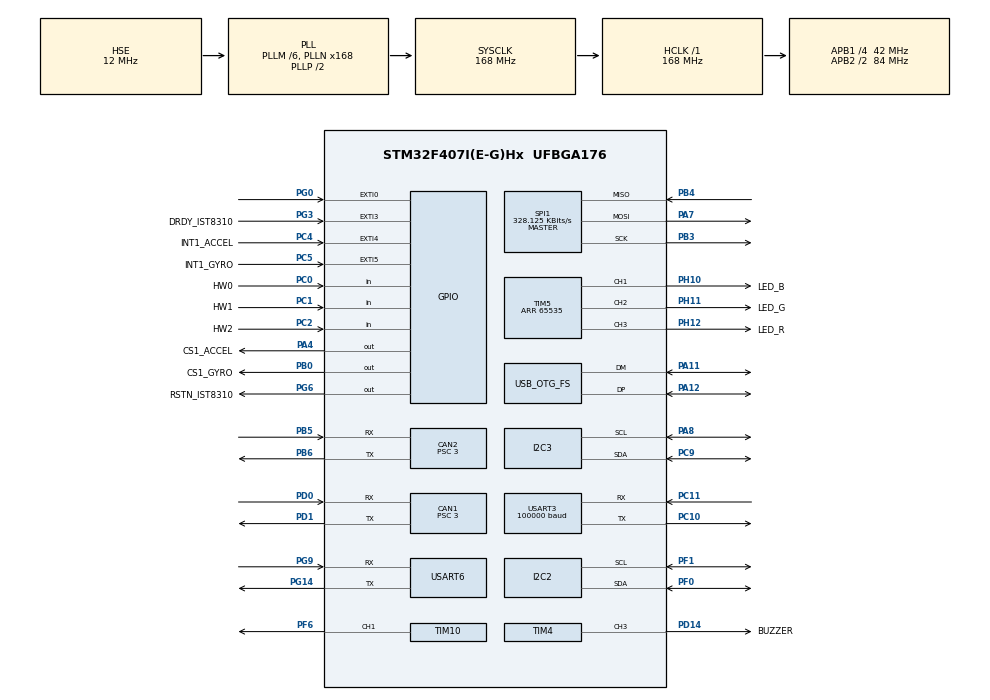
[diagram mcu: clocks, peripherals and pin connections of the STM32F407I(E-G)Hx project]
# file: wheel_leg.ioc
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CAN1.BS1=CAN_BS1_10TQ
CAN1.BS2=CAN_BS2_3TQ
CAN1.CalculateBaudRate=1000000
CAN1.CalculateTimeBit=1000
CAN1.CalculateTimeQuantum=71.42857142857143
CAN1.NART=ENABLE
CAN1.Prescaler=3
CAN2.BS1=CAN_BS1_10TQ
CAN2.BS2=CAN_BS2_3TQ
CAN2.CalculateBaudRate=1000000
CAN2.CalculateTimeBit=1000
CAN2.CalculateTimeQuantum=71.42857142857143
CAN2.NART=ENABLE
CAN2.Prescaler=3
Dma.Request0=USART3_RX
Dma.Request1=SPI1_RX
Dma.Request2=SPI1_TX
Dma.Request3=USART6_RX
Dma.Request4=USART6_TX
Dma.SPI1_RX.1.Direction=DMA_PERIPH_TO_MEMORY
Dma.SPI1_RX.1.FIFOMode=DMA_FIFOMODE_DISABLE
Dma.SPI1_RX.1.Instance=DMA2_Stream2
Dma.SPI1_RX.1.MemDataAlignment=DMA_MDATAALIGN_BYTE
Dma.SPI1_RX.1.MemInc=DMA_MINC_ENABLE
Dma.SPI1_RX.1.Mode=DMA_NORMAL
Dma.SPI1_RX.1.PeriphDataAlignment=DMA_PDATAALIGN_BYTE
Dma.SPI1_RX.1.PeriphInc=DMA_PINC_DISABLE
Dma.SPI1_RX.1.Priority=DMA_PRIORITY_VERY_HIGH
Dma.SPI1_TX.2.Direction=DMA_MEMORY_TO_PERIPH
Dma.SPI1_TX.2.FIFOMode=DMA_FIFOMODE_DISABLE
Dma.SPI1_TX.2.Instance=DMA2_Stream3
Dma.SPI1_TX.2.MemDataAlignment=DMA_MDATAALIGN_BYTE
Dma.SPI1_TX.2.MemInc=DMA_MINC_ENABLE
Dma.SPI1_TX.2.Mode=DMA_NORMAL
Dma.SPI1_TX.2.PeriphDataAlignment=DMA_PDATAALIGN_BYTE
Dma.SPI1_TX.2.PeriphInc=DMA_PINC_DISABLE
Dma.SPI1_TX.2.Priority=DMA_PRIORITY_HIGH
Dma.USART3_RX.0.Direction=DMA_PERIPH_TO_MEMORY
Dma.USART3_RX.0.FIFOMode=DMA_FIFOMODE_DISABLE
Dma.USART3_RX.0.Instance=DMA1_Stream1
Dma.USART3_RX.0.MemDataAlignment=DMA_MDATAALIGN_BYTE
Dma.USART3_RX.0.MemInc=DMA_MINC_ENABLE
Dma.USART3_RX.0.Mode=DMA_NORMAL
Dma.USART3_RX.0.PeriphDataAlignment=DMA_PDATAALIGN_BYTE
Dma.USART3_RX.0.PeriphInc=DMA_PINC_DISABLE
Dma.USART3_RX.0.Priority=DMA_PRIORITY_VERY_HIGH
Dma.USART6_RX.3.Direction=DMA_PERIPH_TO_MEMORY
Dma.USART6_RX.3.FIFOMode=DMA_FIFOMODE_ENABLE
Dma.USART6_RX.3.FIFOThreshold=DMA_FIFO_THRESHOLD_FULL
Dma.USART6_RX.3.Instance=DMA2_Stream1
Dma.USART6_RX.3.MemBurst=DMA_MBURST_SINGLE
Dma.USART6_RX.3.MemDataAlignment=DMA_MDATAALIGN_BYTE
Dma.USART6_RX.3.MemInc=DMA_MINC_ENABLE
Dma.USART6_RX.3.Mode=DMA_NORMAL
Dma.USART6_RX.3.PeriphBurst=DMA_PBURST_SINGLE
Dma.USART6_RX.3.PeriphDataAlignment=DMA_PDATAALIGN_BYTE
Dma.USART6_RX.3.PeriphInc=DMA_PINC_DISABLE
Dma.USART6_RX.3.Priority=DMA_PRIORITY_HIGH
Dma.USART6_TX.4.Direction=DMA_MEMORY_TO_PERIPH
Dma.USART6_TX.4.FIFOMode=DMA_FIFOMODE_DISABLE
Dma.USART6_TX.4.Instance=DMA2_Stream6
Dma.USART6_TX.4.MemDataAlignment=DMA_MDATAALIGN_BYTE
Dma.USART6_TX.4.MemInc=DMA_MINC_ENABLE
Dma.USART6_TX.4.Mode=DMA_NORMAL
Dma.USART6_TX.4.PeriphDataAlignment=DMA_PDATAALIGN_BYTE
Dma.USART6_TX.4.PeriphInc=DMA_PINC_DISABLE
Dma.USART6_TX.4.Priority=DMA_PRIORITY_MEDIUM
FREERTOS.INCLUDE_eTaskGetState=1
FREERTOS.INCLUDE_pcTaskGetTaskName=1
FREERTOS.INCLUDE_uxTaskGetStackHighWaterMark=1
FREERTOS.INCLUDE_uxTaskGetStackHighWaterMark2=0
FREERTOS.INCLUDE_vTaskCleanUpResources=1
FREERTOS.INCLUDE_vTaskDelayUntil=1
FREERTOS.INCLUDE_xEventGroupSetBitFromISR=1
FREERTOS.INCLUDE_xQueueGetMutexHolder=1
FREERTOS.INCLUDE_xSemaphoreGetMutexHolder=1
FREERTOS.INCLUDE_xTaskAbortDelay=1
FREERTOS.INCLUDE_xTaskGetCurrentTaskHandle=1
FREERTOS.INCLUDE_xTaskGetHandle=1
FREERTOS.INCLUDE_xTimerPendFunctionCall=1
FREERTOS.Tasks01=defaultTask,0,128,StartDefaultTask,Default,NULL,Dynamic,NULL,NULL
FREERTOS.configENABLE_FPU=1
FREERTOS.configGENERATE_RUN_TIME_STATS=0
FREERTOS.configTOTAL_HEAP_SIZE=24576
FREERTOS.configUSE_NEWLIB_REENTRANT=1
FREERTOS.configUSE_TIMERS=1
I2C3.I2C_Mode=I2C_Fast
Mcu.Family=STM32F4
Mcu.Name=STM32F407I(E-G)Hx
Mcu.Package=UFBGA176
NVIC.CAN1_RX0_IRQn=true\:5\:0\:false\:false\:true\:true\:true\:true\:true
NVIC.CAN1_TX_IRQn=true\:5\:0\:false\:false\:true\:true\:true\:true\:true
NVIC.CAN2_RX0_IRQn=true\:5\:0\:false\:false\:true\:true\:true\:true\:true
NVIC.CAN2_TX_IRQn=true\:5\:0\:false\:false\:true\:true\:true\:true\:true
NVIC.DMA1_Stream1_IRQn=true\:5\:0\:false\:false\:true\:true\:false\:true\:true
NVIC.DMA2_Stream1_IRQn=true\:5\:0\:false\:false\:true\:true\:false\:true\:true
NVIC.DMA2_Stream2_IRQn=true\:5\:0\:false\:false\:true\:false\:false\:true\:true
NVIC.DMA2_Stream3_IRQn=true\:5\:0\:false\:false\:true\:true\:false\:true\:true
NVIC.DMA2_Stream6_IRQn=true\:5\:0\:false\:false\:true\:true\:false\:true\:true
NVIC.EXTI0_IRQn=true\:5\:0\:false\:false\:true\:true\:true\:true\:true
NVIC.EXTI3_IRQn=true\:5\:0\:false\:false\:true\:true\:true\:true\:true
NVIC.EXTI4_IRQn=true\:5\:0\:false\:false\:true\:true\:true\:true\:true
NVIC.EXTI9_5_IRQn=true\:5\:0\:false\:false\:true\:false\:true\:true\:true
NVIC.OTG_FS_IRQn=true\:5\:0\:false\:false\:true\:true\:false\:true\:true
NVIC.PriorityGroup=NVIC_PRIORITYGROUP_4
NVIC.TIM2_IRQn=true\:15\:0\:false\:false\:true\:false\:false\:true\:true
NVIC.TimeBase=TIM2_IRQn
NVIC.TimeBaseIP=TIM2
NVIC.USART3_IRQn=true\:5\:0\:false\:false\:false\:true\:true\:true\:true
NVIC.USART6_IRQn=true\:5\:0\:false\:false\:true\:true\:true\:true\:true
PA11.Mode=Device_Only
PA11.Signal=USB_OTG_FS_DM
PA12.Mode=Device_Only
PA12.Signal=USB_OTG_FS_DP
PA13.Mode=Serial_Wire
PA13.Signal=SYS_JTMS-SWDIO
PA14.Mode=Serial_Wire
PA14.Signal=SYS_JTCK-SWCLK
PA4.GPIO_Label=CS1_ACCEL
PA4.GPIO_PuPd=GPIO_PULLUP
PA4.GPIO_Speed=GPIO_SPEED_FREQ_HIGH
PA4.PinState=GPIO_PIN_SET
PA4.Signal=GPIO_Output
PA7.Mode=Full_Duplex_Master
PA7.Signal=SPI1_MOSI
PA8.Mode=I2C
PA8.Signal=I2C3_SCL
PB0.GPIO_Label=CS1_GYRO
PB0.GPIO_PuPd=GPIO_PULLUP
PB0.GPIO_Speed=GPIO_SPEED_FREQ_HIGH
PB0.PinState=GPIO_PIN_SET
PB0.Signal=GPIO_Output
PB3.Mode=Full_Duplex_Master
PB3.Signal=SPI1_SCK
PB4.Mode=Full_Duplex_Master
PB4.Signal=SPI1_MISO
PB5.Mode=CAN_Activate
PB5.Signal=CAN2_RX
PB6.Mode=CAN_Activate
PB6.Signal=CAN2_TX
PC0.GPIO_Label=HW0
PC0.Signal=GPIO_Input
PC1.GPIO_Label=HW1
PC1.Signal=GPIO_Input
PC10.Mode=Asynchronous
PC10.Signal=USART3_TX
PC11.Mode=Asynchronous
PC11.Signal=USART3_RX
PC2.GPIO_Label=HW2
PC2.Signal=GPIO_Input
PC4.GPIO_Label=INT1_ACCEL
PC4.GPIO_ModeDefaultEXTI=GPIO_MODE_IT_FALLING
PC4.GPIO_PuPd=GPIO_PULLUP
PC4.Signal=GPXTI4
PC5.GPIO_Label=INT1_GYRO
PC5.GPIO_ModeDefaultEXTI=GPIO_MODE_IT_FALLING
PC5.GPIO_PuPd=GPIO_PULLUP
PC5.Signal=GPXTI5
PC9.Mode=I2C
PC9.Signal=I2C3_SDA
PD0.Mode=CAN_Activate
PD0.Signal=CAN1_RX
PD1.Mode=CAN_Activate
PD1.Signal=CAN1_TX
PD14.GPIO_Label=BUZZER
PD14.GPIO_PuPd=GPIO_PULLUP
PD14.GPIO_Speed=GPIO_SPEED_FREQ_VERY_HIGH
PD14.Signal=S_TIM4_CH3
PF0.Mode=I2C
PF0.Signal=I2C2_SDA
PF1.Mode=I2C
PF1.Signal=I2C2_SCL
PF6.GPIO_PuPd=GPIO_PULLUP
PF6.GPIO_Speed=GPIO_SPEED_FREQ_HIGH
PF6.Signal=S_TIM10_CH1
PG0.GPIO_ModeDefaultEXTI=GPIO_MODE_IT_FALLING
PG0.GPIO_PuPd=GPIO_PULLUP
PG0.Signal=GPXTI0
PG14.Mode=Asynchronous
PG14.Signal=USART6_TX
PG3.GPIO_Label=DRDY_IST8310
PG3.GPIO_ModeDefaultEXTI=GPIO_MODE_IT_FALLING
PG3.GPIO_PuPd=GPIO_PULLUP
PG3.Signal=GPXTI3
PG6.GPIO_Label=RSTN_IST8310
PG6.GPIO_ModeDefaultOutputPP=GPIO_MODE_OUTPUT_PP
PG6.GPIO_PuPd=GPIO_PULLUP
PG6.GPIO_Speed=GPIO_SPEED_FREQ_MEDIUM
PG6.PinState=GPIO_PIN_SET
PG6.Signal=GPIO_Output
PG9.Mode=Asynchronous
PG9.Signal=USART6_RX
PH0-OSC_IN.Mode=HSE-External-Oscillator
PH0-OSC_IN.Signal=RCC_OSC_IN
PH1-OSC_OUT.Mode=HSE-External-Oscillator
PH1-OSC_OUT.Signal=RCC_OSC_OUT
PH10.GPIO_Label=LED_B
PH10.GPIO_PuPd=GPIO_PULLUP
PH10.GPIO_Speed=GPIO_SPEED_FREQ_HIGH
PH10.Signal=S_TIM5_CH1
PH11.GPIO_Label=LED_G
PH11.GPIO_PuPd=GPIO_PULLUP
PH11.GPIO_Speed=GPIO_SPEED_FREQ_HIGH
PH11.Signal=S_TIM5_CH2
PH12.GPIO_Label=LED_R
PH12.GPIO_PuPd=GPIO_PULLUP
PH12.GPIO_Speed=GPIO_SPEED_FREQ_HIGH
PH12.Signal=S_TIM5_CH3
ProjectManager.HeapSize=0x1000
ProjectManager.StackSize=0x1000
ProjectManager.TargetToolchain=STM32CubeIDE
RCC.48MHZClocksFreq_Value=48000000
RCC.AHBFreq_Value=168000000
RCC.APB1CLKDivider=RCC_HCLK_DIV4
RCC.APB1Freq_Value=42000000
RCC.APB1TimFreq_Value=84000000
RCC.APB2CLKDivider=RCC_HCLK_DIV2
RCC.APB2Freq_Value=84000000
RCC.APB2TimFreq_Value=168000000
RCC.CortexFreq_Value=168000000
RCC.HCLKFreq_Value=168000000
RCC.HSE_VALUE=12000000
RCC.HSI_VALUE=16000000
RCC.LSE_VALUE=32768
RCC.PLLM=6
RCC.PLLN=168
RCC.PLLQ=7
RCC.SYSCLKFreq_VALUE=168000000
RCC.SYSCLKSource=RCC_SYSCLKSOURCE_PLLCLK
RCC.VCOOutputFreq_Value=336000000
SH.S_TIM10_CH1.0=TIM10_CH1,PWM Generation1 CH1
SH.S_TIM4_CH3.0=TIM4_CH3,PWM Generation3 CH3
SH.S_TIM5_CH1.0=TIM5_CH1,PWM Generation1 CH1
SH.S_TIM5_CH2.0=TIM5_CH2,PWM Generation2 CH2
SH.S_TIM5_CH3.0=TIM5_CH3,PWM Generation3 CH3
SPI1.BaudRatePrescaler=SPI_BAUDRATEPRESCALER_256
SPI1.CLKPhase=SPI_PHASE_2EDGE
SPI1.CLKPolarity=SPI_POLARITY_HIGH
SPI1.CalculateBaudRate=328.125 KBits/s
SPI1.Direction=SPI_DIRECTION_2LINES
SPI1.Mode=SPI_MODE_MASTER
SPI1.VirtualType=VM_MASTER
STMicroelectronics.X-CUBE-ALGOBUILD.1.3.0.LibraryCcDSPOoLibraryJjDSPOoLibrary=true
TIM10.Channel=TIM_CHANNEL_1
TIM10.Period=4999
TIM10.Prescaler=0
TIM4.Channel-PWM\ Generation3\ CH3=TIM_CHANNEL_3
TIM4.Prescaler=167
TIM5.Channel-PWM\ Generation1\ CH1=TIM_CHANNEL_1
TIM5.Channel-PWM\ Generation2\ CH2=TIM_CHANNEL_2
TIM5.Channel-PWM\ Generation3\ CH3=TIM_CHANNEL_3
TIM5.Period=65535
USART3.BaudRate=100000
USART3.Parity=PARITY_EVEN
USART3.VirtualMode=VM_ASYNC
USART6.VirtualMode=VM_ASYNC
USB_DEVICE.CLASS_NAME_FS=CDC
USB_DEVICE.VirtualMode-CDC_FS=Cdc
USB_DEVICE.VirtualModeFS=Cdc_FS
USB_OTG_FS.VirtualMode=Device_Only
VP_CRC_VS_CRC.Mode=CRC_Activate
VP_FREERTOS_VS_CMSIS_V1.Mode=CMSIS_V1
VP_STMicroelectronics.X-CUBE-ALGOBUILD_VS_DSPOoLibraryJjLibrary_1.3.0_1.3.0.Mode=DSPOoLibraryJjLibrary
VP_SYS_VS_tim2.Mode=TIM2
VP_TIM10_VS_ClockSourceINT.Mode=Enable_Timer
VP_TIM4_VS_ClockSourceINT.Mode=Internal
VP_TIM5_VS_ClockSourceINT.Mode=Internal
VP_USB_DEVICE_VS_USB_DEVICE_CDC_FS.Mode=CDC_FS
board=custom

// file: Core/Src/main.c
/* USER CODE BEGIN Header */
/**
  ******************************************************************************
  * @file           : main.c
  * @brief          : Main program body
  ******************************************************************************
  * @attention
  *
  * Copyright (c) 2024 STMicroelectronics.
  * All rights reserved.
  *
  * This software is licensed under terms that can be found in the LICENSE file
  * in the root directory of this software component.
  * If no LICENSE file comes with this software, it is provided AS-IS.
  *
  ******************************************************************************
  */
/* USER CODE END Header */
#include "main.h"
#include "cmsis_os.h"
#include "can.h"
#include "crc.h"
#include "dma.h"
#include "i2c.h"
#include "spi.h"
#include "tim.h"
#include "usart.h"
#include "usb_device.h"
#include "gpio.h"

/* USER CODE BEGIN Includes */
#include "bsp_delay.h"
#include "bsp_can.h"
#include "bsp_usart.h"
#include "remote.h"
#include "Referee.h"
/* USER CODE END Includes */

void SystemClock_Config(void);
void MX_FREERTOS_Init(void);

int main(void)
{

  /* MCU Configuration--------------------------------------------------------*/

  /* Reset of all peripherals, Initializes the Flash interface and the Systick. */
  HAL_Init();

  /* Configure the system clock */
  SystemClock_Config();

  /* Initialize all configured peripherals */
  MX_GPIO_Init();
  MX_DMA_Init();
  MX_USART3_UART_Init();
  MX_CAN1_Init();
  MX_CAN2_Init();
  MX_SPI1_Init();
  MX_I2C3_Init();
  MX_TIM4_Init();
  MX_TIM5_Init();
  MX_TIM10_Init();
  MX_I2C2_Init();
  MX_USART6_UART_Init();
  MX_CRC_Init();
  /* USER CODE BEGIN 2 */
  can_filter_init();
  delay_init();
  remote_control_init();
  usart6_init(&usart6_buf[0], REFEREE_BUFFER_SIZE);
  /* USER CODE END 2 */

  /* Call init function for freertos objects (in freertos.c) */
  MX_FREERTOS_Init();

  /* Start scheduler */
  osKernelStart();

  /* We should never get here as control is now taken by the scheduler */
  /* Infinite loop */
  while (1)
  {

  }
}

void SystemClock_Config(void)
{
  RCC_OscInitTypeDef RCC_OscInitStruct = {0};
  RCC_ClkInitTypeDef RCC_ClkInitStruct = {0};

  /** Configure the main internal regulator output voltage
  */
  __HAL_RCC_PWR_CLK_ENABLE();
  __HAL_PWR_VOLTAGESCALING_CONFIG(PWR_REGULATOR_VOLTAGE_SCALE1);

  /** Initializes the RCC Oscillators according to the specified parameters
  * in the RCC_OscInitTypeDef structure.
  */
  RCC_OscInitStruct.OscillatorType = RCC_OSCILLATORTYPE_HSE;
  RCC_OscInitStruct.HSEState = RCC_HSE_ON;
  RCC_OscInitStruct.PLL.PLLState = RCC_PLL_ON;
  RCC_OscInitStruct.PLL.PLLSource = RCC_PLLSOURCE_HSE;
  RCC_OscInitStruct.PLL.PLLM = 6;
  RCC_OscInitStruct.PLL.PLLN = 168;
  RCC_OscInitStruct.PLL.PLLP = RCC_PLLP_DIV2;
  RCC_OscInitStruct.PLL.PLLQ = 7;
  if (HAL_RCC_OscConfig(&RCC_OscInitStruct) != HAL_OK)
  {
    Error_Handler();
  }

  /** Initializes the CPU, AHB and APB buses clocks
  */
  RCC_ClkInitStruct.ClockType = RCC_CLOCKTYPE_HCLK|RCC_CLOCKTYPE_SYSCLK
                              |RCC_CLOCKTYPE_PCLK1|RCC_CLOCKTYPE_PCLK2;
  RCC_ClkInitStruct.SYSCLKSource = RCC_SYSCLKSOURCE_PLLCLK;
  RCC_ClkInitStruct.AHBCLKDivider = RCC_SYSCLK_DIV1;
  RCC_ClkInitStruct.APB1CLKDivider = RCC_HCLK_DIV4;
  RCC_ClkInitStruct.APB2CLKDivider = RCC_HCLK_DIV2;

  if (HAL_RCC_ClockConfig(&RCC_ClkInitStruct, FLASH_LATENCY_5) != HAL_OK)
  {
    Error_Handler();
  }
}

void HAL_TIM_PeriodElapsedCallback(TIM_HandleTypeDef *htim)
{
  if (htim->Instance == TIM2) {
    HAL_IncTick();
  }
}

void Error_Handler(void)
{
  __disable_irq();
  while (1)
  {
  }
}

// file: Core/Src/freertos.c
/* USER CODE BEGIN Header */
/**
  ******************************************************************************
  * File Name          : freertos.c
  * Description        : Code for freertos applications
  ******************************************************************************
  * @attention
  *
  * Copyright (c) 2024 STMicroelectronics.
  * All rights reserved.
  *
  * This software is licensed under terms that can be found in the LICENSE file
  * in the root directory of this software component.
  * If no LICENSE file comes with this software, it is provided AS-IS.
  *
  ******************************************************************************
  */
/* USER CODE END Header */

#include "FreeRTOS.h"
#include "task.h"
#include "main.h"
#include "cmsis_os.h"

/* USER CODE BEGIN Includes */
#include "Atti.h"
#include "Calibrate.h"
#include "chassis.h"
#include "robot_def.h"
#include "communication.h"
/* USER CODE END Includes */

/* USER CODE BEGIN Variables */
osThreadId attiTaskHandle;
osThreadId calibrateTaskHandle;
osThreadId chassisTaskHandle;
osThreadId gimbalTaskHandle;
/* USER CODE END Variables */
osThreadId defaultTaskHandle;

void StartDefaultTask(void const * argument);

extern void MX_USB_DEVICE_Init(void);
void MX_FREERTOS_Init(void); /* (MISRA C 2004 rule 8.1) */

/* GetIdleTaskMemory prototype (linked to static allocation support) */
void vApplicationGetIdleTaskMemory( StaticTask_t **ppxIdleTaskTCBBuffer, StackType_t **ppxIdleTaskStackBuffer, uint32_t *pulIdleTaskStackSize );

/* GetTimerTaskMemory prototype (linked to static allocation support) */
void vApplicationGetTimerTaskMemory( StaticTask_t **ppxTimerTaskTCBBuffer, StackType_t **ppxTimerTaskStackBuffer, uint32_t *pulTimerTaskStackSize );

/* USER CODE BEGIN GET_IDLE_TASK_MEMORY */
static StaticTask_t xIdleTaskTCBBuffer;
static StackType_t xIdleStack[configMINIMAL_STACK_SIZE];

void vApplicationGetIdleTaskMemory(StaticTask_t **ppxIdleTaskTCBBuffer,
                                   StackType_t **ppxIdleTaskStackBuffer,
                                   uint32_t *pulIdleTaskStackSize) {
  *ppxIdleTaskTCBBuffer = &xIdleTaskTCBBuffer;
  *ppxIdleTaskStackBuffer = &xIdleStack[0];
  *pulIdleTaskStackSize = configMINIMAL_STACK_SIZE;
  /* place for user code */
}
/* USER CODE END GET_IDLE_TASK_MEMORY */

/* USER CODE BEGIN GET_TIMER_TASK_MEMORY */
static StaticTask_t xTimerTaskTCBBuffer;
static StackType_t xTimerStack[configTIMER_TASK_STACK_DEPTH];

void vApplicationGetTimerTaskMemory(StaticTask_t **ppxTimerTaskTCBBuffer,
                                    StackType_t **ppxTimerTaskStackBuffer,
                                    uint32_t *pulTimerTaskStackSize) {
  *ppxTimerTaskTCBBuffer = &xTimerTaskTCBBuffer;
  *ppxTimerTaskStackBuffer = &xTimerStack[0];
  *pulTimerTaskStackSize = configTIMER_TASK_STACK_DEPTH;
  /* place for user code */
}
/* USER CODE END GET_TIMER_TASK_MEMORY */

void MX_FREERTOS_Init(void) {

  /* Create the thread(s) */
  /* definition and creation of defaultTask */
  osThreadDef(defaultTask, StartDefaultTask, osPriorityNormal, 0, 128);
  defaultTaskHandle = osThreadCreate(osThread(defaultTask), NULL);

  /* USER CODE BEGIN RTOS_THREADS */
  osThreadDef(calibrateTask, calibrate_task, osPriorityNormal, 0, 512);
  calibrateTaskHandle = osThreadCreate(osThread(calibrateTask), NULL);

  osThreadDef(attiTask, INS_task, osPriorityRealtime, 0, 1024);
  attiTaskHandle = osThreadCreate(osThread(attiTask), NULL);

  osThreadDef(chassisTask, chassis_task, osPriorityAboveNormal, 0, 1024);
  chassisTaskHandle = osThreadCreate(osThread(chassisTask), NULL);

  osThreadDef(communicationTask, communication_task, osPriorityAboveNormal, 0, 1024);
  gimbalTaskHandle = osThreadCreate(osThread(communicationTask), NULL);

  /* USER CODE END RTOS_THREADS */

}

void StartDefaultTask(void const * argument)
{
  /* init code for USB_DEVICE */
  MX_USB_DEVICE_Init();
  for (;;) {
    osDelay(1);
  }
}
